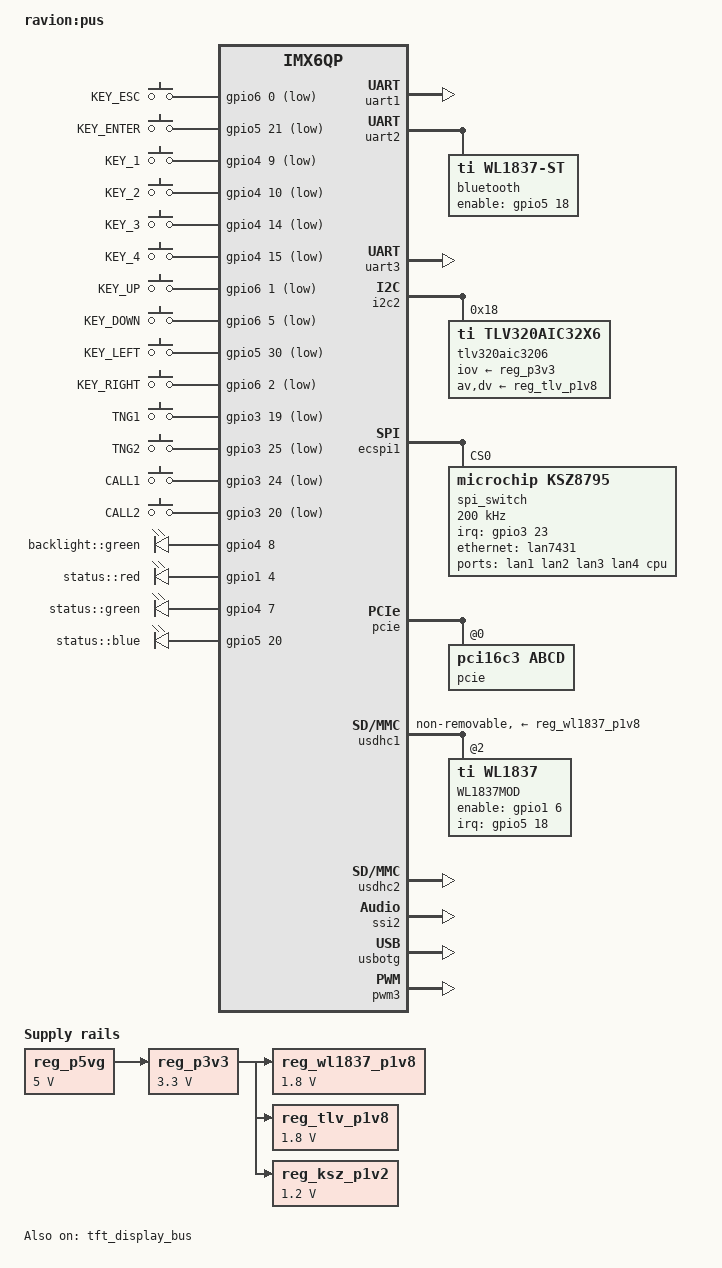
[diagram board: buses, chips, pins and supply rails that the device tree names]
/*
 * Copyright 2025 Radioavionica Corp.
 *
 * This program is free software; you can redistribute it and/or modify
 * it under the terms of the GNU General Public License version 2 as
 * published by the Free Software Foundation.
 *
 */

/dts-v1/;
#include "imx6qp.dtsi"

#define SPI_CS_GPIO
#include "imx6qdl-ravion-v2.dtsi"

/ {
	model = "ravion:pus";
	compatible = "ravion,imx6qp", "fsl,imx6qp";

	/*
	 * Device specific regulators
	 */
	reg_p5vg: regulator-p5v { /* DA2 */
			compatible = "regulator-fixed";
			regulator-name = "P5V";
			regulator-min-microvolt = <5000000>;
			regulator-max-microvolt = <5000000>;
			regulator-boot-on;
			regulator-always-on;
	};

	reg_p3v3: regulator-p3v3 { /* DA29 */
			compatible = "regulator-fixed";
			regulator-name = "P3V3";
			regulator-min-microvolt = <3300000>;
			regulator-max-microvolt = <3300000>;
			vin-supply = <&reg_p5vg>;
			regulator-boot-on;
			regulator-always-on;
	};

	reg_wl1837_p1v8: regulator-wl1837-p1v8 { /* DA5 */
			compatible = "regulator-fixed";
			regulator-name = "wl1837-reg";
			regulator-min-microvolt = <1800000>;
			regulator-max-microvolt = <1800000>;
			vin-supply = <&reg_p3v3>;
#if 0
			/* Fixme. No such cirquit? */
			gpio = <&gpio3 19 GPIO_ACTIVE_HIGH>;	/* soDimm 25 */
			startup-delay-us = <70000>;
			enable-active-high;
#endif
	};

	reg_tlv_p1v8: regulator-tlv { /* DA4 */
			compatible = "regulator-fixed";
			regulator-name = "TLV-P1V8";
			regulator-min-microvolt = <1800000>;
			regulator-max-microvolt = <1800000>;
			vin-supply = <&reg_p3v3>;
			regulator-boot-on;
			regulator-always-on;
	};

	reg_ksz_p1v2: regulator-ksz-p1v2 { /* DA12 */
			compatible = "regulator-fixed";
			regulator-name = "ksz-p1v2";
			regulator-min-microvolt = <1200000>;
			regulator-max-microvolt = <1200000>;
			vin-supply = <&reg_p3v3>;
			regulator-boot-on;
			regulator-always-on;
	};

	/* from <imx6qp-ravion-mtu.dts> */
	panel {
		power-supply = <&reg_p3v3>;
		backlight = <&lcd_backlight>;
		//compatible = "mitsubishi,aa050mh01-da1";
/****** Alternative record (without panel-simple patches ******
		compatible = "panel-dpi";
		width-mm = <109>;
		height-mm = <65>;

		panel-timing {
			clock-frequency = <30400000>;
			hactive = <800>;
			vactive = <480>;
			hfront-porch = <60>;
			hsync-len = <40>;
			hback-porch = <60>;
			vfront-porch = <15>;
			vsync-len = <15>;
			vback-porch = <15>;
			hsync-active = <0>;
			vsync-active = <0>;
			de-active = <1>;
			pixelclk-active = <1>;
		};
****** Alternative record (without panel-simple patches ******/

		port {
			lcd_panel_in: endpoint {
				remote-endpoint = <&tft_bus_out>;
			};
		};
		
		lcd_backlight: lcd_backlight {
			compatible = "pwm-backlight";
			pwms = <&pwm3 0 2000 0>; /* FixMe: frequency !!! */
			brightness-levels = <0 25 51 76 102 127 153 178 204 229 255>;
			default-brightness-level = <9>;
			status = "okay";
		};
	};

	sound-tlv320 {
		compatible = "fsl,imx-audio-tlv320aic32x4";
		model = "ravion-tlv320aic32x6";
		ssi-controller = <&ssi2>;
		audio-codec = <&tlv320aic3206>;
		audio-routing =
			"IN1_L", "Line In Jack",
			"IN1_R", "Line In Jack",
			"IN2_L", "Line In Jack",
			"IN2_R", "Line In Jack",
			"Headphone Jack", "HPL",
			"Headphone Jack", "HPR",
			"Line Out Jack", "LOL",
			"Line Out Jack", "LOR";
		mux-int-port = <2>;
		mux-ext-port = <5>;
	};

	gpio-keys {
		compatible = "gpio-keys";

		KEY_ESC {
			label = "KEY_ESC";
			gpios = <&gpio6 0 GPIO_ACTIVE_LOW>;		/* soDimm 168 */
			linux,code = <KEY_ESC>;
			debounce-interval = <100>;
			wakeup-source;
		};

		KEY_ENTER {
			label = "KEY_ENTER";
			gpios = <&gpio5 21 GPIO_ACTIVE_LOW>;	/* soDimm 170 */
			linux,code = <KEY_ENTER>;
			debounce-interval = <100>;
			wakeup-source;
		};
		
		KEY_1 {
			label = "KEY_1";
			gpios = <&gpio4 9 GPIO_ACTIVE_LOW>;		/* soDimm 152 */
			linux,code = <KEY_1>;
			debounce-interval = <100>;
			wakeup-source;
		};

		KEY_2 {
			label = "KEY_2";
			gpios = <&gpio4 10 GPIO_ACTIVE_LOW>;	/* soDimm 154 */
			linux,code = <KEY_2>;
			debounce-interval = <100>;
			wakeup-source;
		};

		KEY_3 {
			label = "KEY_3";
			gpios = <&gpio4 14 GPIO_ACTIVE_LOW>;	/* soDimm 156 */
			linux,code = <KEY_3>;
			debounce-interval = <100>;
			wakeup-source;
		};

		KEY_4 {
			label = "KEY_4";
			gpios = <&gpio4 15 GPIO_ACTIVE_LOW>;	/* soDimm 158 */
			linux,code = <KEY_4>;
			debounce-interval = <100>;
			wakeup-source;
		};

		KEY_UP {
			label = "KEY_UP";
			gpios = <&gpio6 1 GPIO_ACTIVE_LOW>;		/* soDimm 160 */
			linux,code = <KEY_UP>;
			debounce-interval = <100>;
			wakeup-source;
		};

		KEY_DOWN {
			label = "KEY_DOWN";
			gpios = <&gpio6 5 GPIO_ACTIVE_LOW>;		/* soDimm 162 */
			linux,code = <KEY_DOWN>;
			debounce-interval = <100>;
			wakeup-source;
		};

		KEY_LEFT {
			label = "KEY_LEFT";
			gpios = <&gpio5 30 GPIO_ACTIVE_LOW>;	/* soDimm 164 */
			linux,code = <KEY_LEFT>;
			debounce-interval = <100>;
			wakeup-source;
		};

		KEY_RIGHT {
			label = "KEY_RIGHT";
			gpios = <&gpio6 2 GPIO_ACTIVE_LOW>;		/* soDimm 166 */
			linux,code = <KEY_RIGHT>;
			debounce-interval = <100>;
			wakeup-source;
		};
		
		PTT1 {
			label = "TNG1";
			gpios = <&gpio3 19 GPIO_ACTIVE_LOW>;	/* soDimm25 */
			linux,code = <KEY_F2>;
			debounce-interval = <100>;
			wakeup-source;
		};

		PTT2 {
			label = "TNG2";
			gpios = <&gpio3 25 GPIO_ACTIVE_LOW>;	/* soDimm29 */
			linux,code = <KEY_F10>;
			debounce-interval = <100>;
			wakeup-source;
		};

		CALL1 {
			label = "CALL1";
			gpios = <&gpio3 24 GPIO_ACTIVE_LOW>;	/* soDimm23 */
			linux,code = <KEY_F13>;
			debounce-interval = <100>;
			wakeup-source;
		};

		CALL2 {
			label = "CALL2";
			gpios = <&gpio3 20 GPIO_ACTIVE_LOW>;	/* soDimm27 */
			linux,code = <KEY_F14>;
			debounce-interval = <100>;
			wakeup-source;
		};
		
	};

	gpio-leds {
		compatible = "gpio-leds";

		keys_backlight 	{
			label = "backlight::green";
			gpios = <&gpio4 8 GPIO_ACTIVE_HIGH>;		/* soDimm 150 */
			default-state = "off";
		};

		ST_Red 	{
			label = "status::red";
			gpios = <&gpio1 4 GPIO_ACTIVE_HIGH>;		/* soDimm 188 */
			default-state = "off";
		};

		ST_Green 	{
			label = "status::green";
			gpios = <&gpio4 7 GPIO_ACTIVE_HIGH>;		/* soDimm 190 */
			default-state = "off";
		};

		ST_Blue 	{
			label = "status::blue";
			gpios = <&gpio5 20 GPIO_ACTIVE_HIGH>;		/* soDimm 192 */
			linux,default-trigger = "heartbeat";
			default-state = "on";
		};
	};
};

/* VGA */
&tft_display_bus {
      status = "okay";
};

&tft_bus_out {
       remote-endpoint = <&lcd_panel_in>;
};

/*
 * Serial ports
 */
&uart1 {	status = "okay";	};
&uart2 {
	uart-has-rtscts;
	status = "okay";

	bluetooth {
		enable-gpios = <&gpio5 18 GPIO_ACTIVE_HIGH>; /* soDimm 172 */
		compatible = "ti,wl1837-st";
		clocks = <&clk_32k_bt 0>;
		clock-names = "ext_clock";
		max-speed = <3686400>;
		current-speed = <115200>;
		status = "okay";

		clk_32k_bt: bt_clk {
			compatible = "fixed-clock";
			#clock-cells = <0>;
			clock-frequency = <32768>;
			clock-accuracy = <100>;
		};
	};
};
&uart3 {	status = "okay";	};	

/*
 * I2C Busses
 */
&i2c2 {	/* Compatible I2C: soDimm 194, 196 */
	status = "okay";

	/* ext codec */
	#address-cells = <1>;
	#size-cells = <0>;
	tlv320aic3206: codec@18 {
		compatible = "ti,tlv320aic32x6";
		reg = <0x18>;
		pinctrl-names = "default";
		pinctrl-0 = <&pinctrl_ext_aud5>, <&pinctrl_clkext>;
		iov-supply = <&reg_p3v3>;
		av-supply = <&reg_tlv_p1v8>;
		dv-supply = <&reg_tlv_p1v8>;
		clocks = <&clks IMX6QDL_CLK_CKO2>; /* soDimm 137 */
		clock-names = "mclk";
	};
};

&ecspi1 {
	status = "okay";

	spi_switch: ksz8795clx@0 {
		compatible = "microchip,ksz8795";
		reg = <0>;
		spi-max-frequency = <200000>;
		spi_cpha;
		status = "okay"; /* Attention! Tail tagging only for port 5 */
		/* Fixme! Other projects with this switch not handle IRQs */
		interrupt-parent = <&gpio3>;
		interrupts = <23 IRQ_TYPE_LEVEL_HIGH>;		/* soDimm 31 */

		/*ethernet-*/ports {
			#address-cells = <1>;
			#size-cells = <0>;
			port@0 {
				reg = <0>;
				label = "lan1";
			};
			port@1 {
				reg = <1>;
				label = "lan2";
			};
			port@2 {
				reg = <2>;
				label = "lan3";
			};
			port@3 {
				reg = <3>;
				label = "lan4";
			};
			port@4 {
				reg = <4>;
				label = "cpu";
				phy-mode = "rgmii-id";
				rx-internal-delay-ps = <0>;
				tx-internal-delay-ps = <0>;
				ethernet = <&lan7431>;

				fixed-link {
					speed = <1000>;
					full-duplex;
				};
			};
		};
	};
};

&pcie {
	#address-cells = <0x03>;
	#size-cells = <0x02>;
	status = "okay";
	/*
		reg = <0xBBSSFF00 0 0 0 0>;
		BB - BUS number (hex)
		SS - Device/Slot number (5 bit)
		FF - Function (3 bit)
		lspci :
		01:00.0 Ethernet controller: Microchip Technology / SMSC LAN7431...
		Bus: 01, Device/Slot: 00, Function: 0
	*/
	pcie@0,0 {
		#address-cells = <0x03>;
		#size-cells = <0x02>;
		compatible ="pci16c3,abcd";
		reg = <0x00000000 0 0 0 0>;
		class-code = <0x060400>; /* bridge */
		status = "okay";

		lan7431: ethernet@1,0 {
			compatible ="pci1055,7431";
			reg = <0x01000000 0 0 0 0>;
			class-code = <0x020000>; /* network */
			rx-internal-delay-ps = <0>;
			tx-internal-delay-ps = <0>;
			phy-connection-type = "rgmii";
			status = "okay";
			fixed-link {
				speed = <1000>;
				full-duplex;
			};
		};
	};
};

/*
 * SD/MMC and eMMC controllers
 */
&usdhc1 {				   /* externed - WiFi module */
	keep-power-in-suspend;
	cap-power-off-card;
	non-removable;
	max-frequency = <25000000>;
	status = "okay";
	vmmc-supply = <&reg_wl1837_p1v8>;
	#address-cells = <1>;
	#size-cells = <0>;

	WL1837MOD: wlcore@2 {
		compatible = "ti,wl1837";
		enable-gpios = <&gpio1 6 GPIO_ACTIVE_HIGH>;	/* soDimm 180 */
		reg = <2>;
		interrupt-parent = <&gpio5>;
		interrupts = <18 IRQ_TYPE_LEVEL_HIGH>;		/* soDimm 172 */
		tcxo-clock-frequency = <26000000>;
	};
};
&usdhc2 {	status = "okay";	}; /* compatible */
/* &usdhc3 {	status = "okay";	}; => eMMC allways enabled */


/*
 * Ethernet controller
 */
/* &fec {	status = "okay";	}; => eth0 allways enabled */

/*
 * Audio (digital part)
 */
&sgtl5000 {	status = "disabled";	};
&module_sound {	status = "disabled";	};
&ssi1	{	status = "disabled";	};
&ssi2 	{	status = "okay";	}; /* for external codec */

&usbotg	{ /* OTG */
	status = "okay";
};

/*
 * PWMs
 */
/* Defaults. pwm3, pwm4 disabled*/
&pwm3 {
	status = "okay";
};
&pwm4 {
	status = "disabled";
};

&iomuxc {
	pinctrl-names = "default";
	pinctrl-0 = <&pinctrl_hog>, <&pinctrl_uart1gpio>;
};
